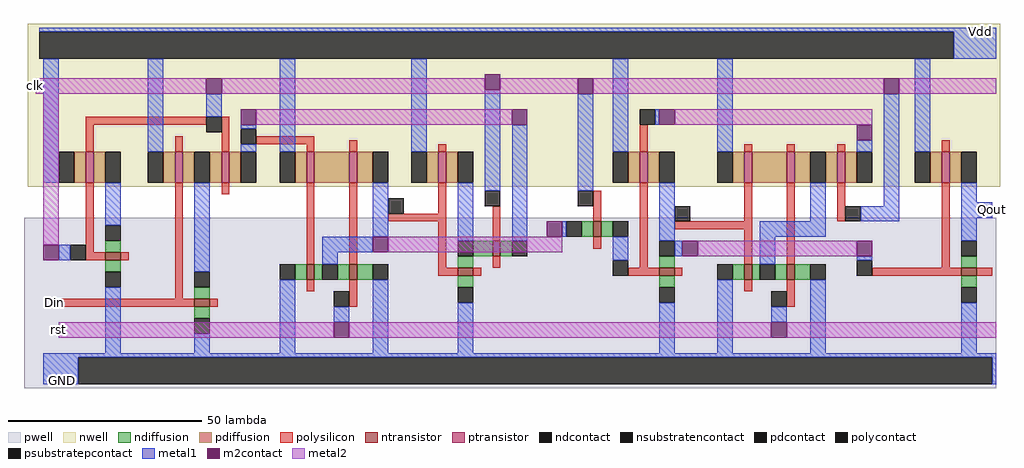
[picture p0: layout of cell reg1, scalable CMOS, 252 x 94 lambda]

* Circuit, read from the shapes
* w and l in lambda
.subckt reg1 Din GND Qout Vdd clk rst
M1 n1 clk GND GND nfet w=4 l=2
M2 n2 Din GND GND nfet w=4 l=2
M3 n3 n4 GND GND nfet w=4 l=2
M4 GND rst n3 GND nfet w=4 l=2
M5 n5 n3 GND GND nfet w=4 l=2
M6 n4 clk n5 GND nfet w=4 l=2
M7 n6 clk n3 GND nfet w=4 l=2
M8 n7 n6 GND GND nfet w=4 l=2
M9 n8 n7 GND GND nfet w=4 l=2
M10 GND rst n8 GND nfet w=4 l=2
M11 Qout n7 GND GND nfet w=4 l=2
M12 n1 clk Vdd Vdd pfet w=8 l=2
M13 n2 Din Vdd Vdd pfet w=8 l=2
M14 n4 clk n2 Vdd pfet w=8 l=2
M15 n9 n4 Vdd Vdd pfet w=8 l=2
M16 n3 rst n9 Vdd pfet w=8 l=2
M17 n5 n3 Vdd Vdd pfet w=8 l=2
M18 n7 n6 Vdd Vdd pfet w=8 l=2
M19 n10 n7 Vdd Vdd pfet w=8 l=2
M20 n8 rst n10 Vdd pfet w=8 l=2
M21 n6 clk n8 Vdd pfet w=8 l=2
M22 Qout n7 Vdd Vdd pfet w=8 l=2
.ends

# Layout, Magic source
magic
tech scmos
<< pwell >>
rect -59 -42 192 2
<< nwell >>
rect -58 10 193 52
<< polysilicon >>
rect -43 26 -12 28
rect -43 19 -41 26
rect -20 19 -18 23
rect -8 19 -6 28
rect 1 21 16 23
rect 14 19 16 21
rect 25 19 27 22
rect 48 19 50 21
rect 100 19 102 26
rect 127 19 129 21
rect 138 19 140 21
rect 151 19 153 21
rect 178 19 180 22
rect -43 -7 -41 11
rect -43 -9 -38 -7
rect -34 -9 -32 -7
rect -20 -19 -18 11
rect -8 8 -6 11
rect 14 -10 16 11
rect 25 -10 27 11
rect 48 3 50 11
rect 35 1 50 3
rect 48 -11 50 1
rect 62 -4 64 5
rect 88 1 90 9
rect 88 -6 90 -3
rect 62 -11 64 -8
rect 48 -13 53 -11
rect 57 -13 59 -11
rect 100 -11 102 11
rect 127 1 129 11
rect 109 -1 129 1
rect 127 -10 129 -1
rect 138 -10 140 11
rect 151 1 153 11
rect 97 -13 105 -11
rect 109 -13 111 -11
rect 14 -17 16 -14
rect -51 -21 -15 -19
rect -11 -21 -9 -19
rect 25 -21 27 -14
rect 178 -11 180 11
rect 160 -13 183 -11
rect 187 -13 191 -11
rect 127 -17 129 -14
rect 138 -21 140 -14
<< ndiffusion >>
rect -38 -7 -34 -4
rect -38 -12 -34 -9
rect 11 -14 14 -10
rect 16 -14 18 -10
rect 22 -14 25 -10
rect 27 -14 31 -10
rect 85 -3 88 1
rect 90 -3 93 1
rect 57 -8 62 -4
rect 64 -8 67 -4
rect 53 -11 57 -8
rect 105 -11 109 -8
rect -15 -19 -11 -16
rect 53 -16 57 -13
rect 105 -16 109 -13
rect 124 -14 127 -10
rect 129 -14 131 -10
rect 135 -14 138 -10
rect 140 -14 144 -10
rect 183 -11 187 -8
rect 183 -16 187 -13
rect -15 -24 -11 -21
<< pdiffusion >>
rect -46 11 -43 19
rect -41 11 -38 19
rect -23 11 -20 19
rect -18 11 -15 19
rect -11 11 -8 19
rect -6 11 -3 19
rect 11 11 14 19
rect 16 11 25 19
rect 27 11 31 19
rect 45 11 48 19
rect 50 11 53 19
rect 97 11 100 19
rect 102 11 105 19
rect 124 11 127 19
rect 129 11 138 19
rect 140 11 144 19
rect 148 11 151 19
rect 153 11 156 19
rect 175 11 178 19
rect 180 11 183 19
<< metal1 >>
rect -55 50 192 51
rect 181 43 192 50
rect -54 11 -50 43
rect -27 19 -23 43
rect -12 28 -8 34
rect -3 25 1 26
rect -3 19 1 21
rect 7 19 11 43
rect 41 19 45 43
rect -38 0 -34 11
rect -50 -9 -47 -5
rect -15 -12 -11 11
rect 31 -3 35 11
rect 18 -7 31 -3
rect 53 -4 57 11
rect 60 9 64 35
rect 18 -10 22 -7
rect 67 -4 71 26
rect 84 9 88 34
rect 93 19 97 43
rect 104 26 105 30
rect 120 19 124 43
rect 156 19 160 22
rect 80 -3 81 1
rect 93 -9 97 -3
rect 105 -4 109 11
rect 144 1 148 11
rect 163 5 167 34
rect 171 19 175 43
rect 157 1 167 5
rect 183 6 187 11
rect 183 2 191 6
rect 131 -3 148 1
rect 109 -8 111 -4
rect 131 -10 135 -3
rect 183 -4 187 2
rect 156 -9 160 -8
rect -38 -33 -34 -16
rect -15 -33 -11 -28
rect 7 -33 11 -14
rect 21 -25 25 -21
rect 31 -33 35 -14
rect 53 -33 57 -20
rect 105 -33 109 -20
rect 120 -33 124 -14
rect 134 -25 138 -21
rect 144 -33 148 -14
rect 183 -33 187 -20
rect -54 -34 192 -33
rect -54 -41 -45 -34
rect 191 -41 192 -34
<< metal2 >>
rect -56 34 -12 38
rect -8 35 60 38
rect 64 35 84 38
rect -8 34 84 35
rect 88 34 163 38
rect 167 34 192 38
rect -54 -5 -50 34
rect 1 26 67 30
rect 109 26 160 30
rect 35 -7 80 -3
rect 115 -8 156 -4
rect -50 -29 21 -25
rect 25 -29 134 -25
rect 138 -29 192 -25
<< ntransistor >>
rect -38 -9 -34 -7
rect 14 -14 16 -10
rect 25 -14 27 -10
rect 88 -3 90 1
rect 62 -8 64 -4
rect 53 -13 57 -11
rect 105 -13 109 -11
rect -15 -21 -11 -19
rect 127 -14 129 -10
rect 138 -14 140 -10
rect 183 -13 187 -11
<< ptransistor >>
rect -43 11 -41 19
rect -20 11 -18 19
rect -8 11 -6 19
rect 14 11 16 19
rect 25 11 27 19
rect 48 11 50 19
rect 100 11 102 19
rect 127 11 129 19
rect 138 11 140 19
rect 151 11 153 19
rect 178 11 180 19
<< polycontact >>
rect -12 24 -8 28
rect 100 26 104 30
rect -3 21 1 25
rect -47 -9 -43 -5
rect 35 3 39 7
rect 60 5 64 9
rect 84 5 88 9
rect 93 -13 97 -9
rect 109 1 113 5
rect 153 1 157 5
rect 21 -21 25 -17
rect 156 -13 160 -9
rect 134 -21 138 -17
<< ndcontact >>
rect -38 -4 -34 0
rect -38 -16 -34 -12
rect -15 -16 -11 -12
rect 7 -14 11 -10
rect 18 -14 22 -10
rect 31 -14 35 -10
rect 81 -3 85 1
rect 93 -3 97 1
rect 53 -8 57 -4
rect 67 -8 71 -4
rect 105 -8 109 -4
rect 53 -20 57 -16
rect 120 -14 124 -10
rect 131 -14 135 -10
rect 144 -14 148 -10
rect 183 -8 187 -4
rect 105 -20 109 -16
rect 183 -20 187 -16
rect -15 -28 -11 -24
<< pdcontact >>
rect -50 11 -46 19
rect -38 11 -34 19
rect -27 11 -23 19
rect -15 11 -11 19
rect -3 11 1 19
rect 7 11 11 19
rect 31 11 35 19
rect 41 11 45 19
rect 53 11 57 19
rect 93 11 97 19
rect 105 11 109 19
rect 120 11 124 19
rect 144 11 148 19
rect 156 11 160 19
rect 171 11 175 19
rect 183 11 187 19
<< m2contact >>
rect -12 34 -8 38
rect -3 26 1 30
rect 60 35 64 39
rect -54 -9 -50 -5
rect 31 -7 35 -3
rect 84 34 88 38
rect 67 26 71 30
rect 105 26 109 30
rect 163 34 167 38
rect 156 22 160 26
rect 76 -3 80 1
rect 111 -8 115 -4
rect 156 -8 160 -4
rect 21 -29 25 -25
rect 134 -29 138 -25
<< psubstratepcontact >>
rect -45 -41 191 -34
<< nsubstratencontact >>
rect -55 43 181 50
<< labels >>
rlabel metal1 -49 -40 -49 -40 1 GND
rlabel metal2 -50 -27 -50 -27 7 rst
rlabel polysilicon -51 -20 -51 -20 7 Din
rlabel metal2 -56 36 -56 36 7 clk
rlabel metal1 188 50 188 50 5 Vdd
rlabel metal1 191 4 191 4 3 Qout
<< end >>
